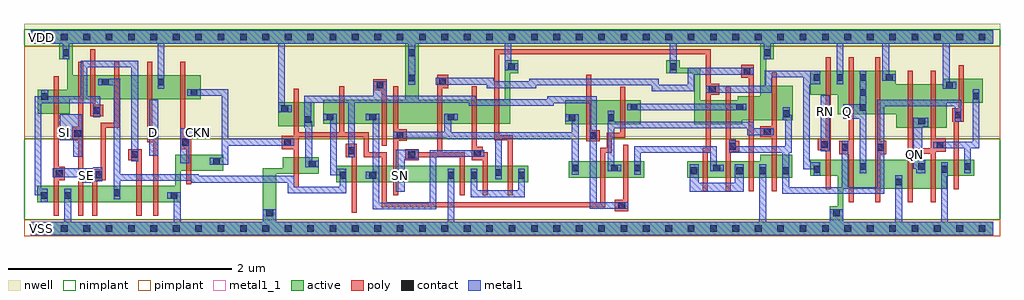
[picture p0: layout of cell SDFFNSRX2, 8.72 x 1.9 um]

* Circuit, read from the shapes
.subckt SDFFNSRX2 CKN D Q QN RN SE SI SN VDD VSS
M1 VSS SE n1 VSS nfet w=0.145u l=0.045u
M2 n2 SI VSS VSS nfet w=0.145u l=0.045u
M3 n3 SE n2 VSS nfet w=0.145u l=0.045u
M4 n4 n1 n3 VSS nfet w=0.145u l=0.045u
M5 VSS D n4 VSS nfet w=0.145u l=0.045u
M6 n5 CKN VSS VSS nfet w=0.145u l=0.045u
M7 n6 n5 VSS VSS nfet w=0.145u l=0.045u
M8 n7 n6 n3 VSS nfet w=0.145u l=0.045u
M9 n8 n5 n7 VSS nfet w=0.145u l=0.045u
M10 VSS n9 n8 VSS nfet w=0.145u l=0.045u
M11 n10 SN VSS VSS nfet w=0.145u l=0.045u
M12 n9 n7 n10 VSS nfet w=0.145u l=0.045u
M13 n10 n11 n9 VSS nfet w=0.145u l=0.045u
M14 n12 n5 n9 VSS nfet w=0.145u l=0.045u
M15 n13 n6 n12 VSS nfet w=0.145u l=0.045u
M16 n13 n11 n14 VSS nfet w=0.145u l=0.045u
M17 n14 n15 n13 VSS nfet w=0.145u l=0.045u
M18 VSS SN n14 VSS nfet w=0.145u l=0.045u
M19 n15 n12 VSS VSS nfet w=0.205u l=0.045u
M20 VSS RN n11 VSS nfet w=0.145u l=0.045u
M21 Q n15 VSS VSS nfet w=0.26u l=0.045u m=2
M22 QN n16 VSS VSS nfet w=0.26u l=0.045u m=2
M23 n16 n15 VSS VSS nfet w=0.145u l=0.045u
M24 VDD SE n1 VDD pfet w=0.215u l=0.045u
M25 n17 SI VDD VDD pfet w=0.215u l=0.045u
M26 n3 n1 n17 VDD pfet w=0.215u l=0.045u
M27 n18 SE n3 VDD pfet w=0.215u l=0.045u
M28 VDD D n18 VDD pfet w=0.215u l=0.045u
M29 n5 CKN VDD VDD pfet w=0.215u l=0.045u
M30 n6 n5 VDD VDD pfet w=0.215u l=0.045u
M31 n7 n5 n3 VDD pfet w=0.215u l=0.045u
M32 n19 n6 n7 VDD pfet w=0.215u l=0.045u
M33 VDD n9 n19 VDD pfet w=0.215u l=0.045u
M34 n9 SN VDD VDD pfet w=0.215u l=0.045u
M35 n20 n7 n9 VDD pfet w=0.215u l=0.045u
M36 VDD n11 n20 VDD pfet w=0.215u l=0.045u
M37 n12 n6 n9 VDD pfet w=0.215u l=0.045u
M38 n21 n5 n12 VDD pfet w=0.215u l=0.045u
M39 n22 n11 VDD VDD pfet w=0.215u l=0.045u
M40 n21 n15 n22 VDD pfet w=0.215u l=0.045u
M41 VDD SN n21 VDD pfet w=0.215u l=0.045u
M42 n15 n12 VDD VDD pfet w=0.31u l=0.045u
M43 VDD RN n11 VDD pfet w=0.215u l=0.045u
M44 Q n15 VDD VDD pfet w=0.39u l=0.045u m=2
M45 QN n16 VDD VDD pfet w=0.39u l=0.045u m=2
M46 n16 n15 VDD VDD pfet w=0.215u l=0.045u
.ends

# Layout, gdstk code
import gdstk
lib = gdstk.Library(unit=1e-6, precision=5e-10)
def R(c, l, rs):  # rectangles x0, y0, x1, y1
    for r in rs: c.add(gdstk.rectangle(r[:2], r[2:], *l))
def A(c, l, x, y, w, h, nx, ny, dx, dy):  # array of equal rectangles
    R(c, l, [(x+i*dx, y+j*dy, x+i*dx+w, y+j*dy+h) for i in range(nx) for j in range(ny)])
def P(c, l, *ps):  # polygons
    for p in ps: c.add(gdstk.Polygon(p, *l))
active = (1, 0)
nwell = (2, 0)
poly = (3, 0)
nimplant = (4, 0)
pimplant = (5, 0)
contact = (6, 0)
metal1 = (7, 0)
metal1_1 = (7, 1)

sdffnsrx2 = lib.new_cell('SDFFNSRX2')
R(sdffnsrx2, active, [(2.73,0.415,4.445,0.56), (4.805,0.455,5.48,0.6), (2.21,0.915,2.535,1.13), (4.775,0.93,5.45,1.145)])
P(sdffnsrx2, active, [(0,1.77),(8.6,1.77),(8.6,1.65),(6.64,1.65),(6.64,1.51),(6.57,1.51),(6.57,1.275),(6.81,1.275),(6.81,0.965),(6.355,0.965),(6.355,0.93),(5.93,0.93),(5.93,1.385),(5.68,1.385),(5.68,1.505),(5.8,1.505),(5.8,1.435),(5.98,1.435),(5.98,1.145),(6.315,1.145),(6.315,1.18),(6.52,1.18),(6.52,1.65),(3.465,1.65),(3.465,1.15),(4.235,1.15),(4.235,1.505),(4.355,1.505),(4.355,1.385),(4.285,1.385),(4.285,0.935),(2.615,0.935),(2.615,1.15),(3.345,1.15),(3.345,1.65),(0.375,1.65),(0.375,1.37),(1.52,1.37),(1.52,1.155),(0.35,1.155),(0.35,1.025),(0.065,1.025),(0.065,1.24),(0.325,1.24),(0.325,1.51),(0.255,1.51),(0.255,1.65),(0,1.65)],
  [(6.965,1.41),(7.73,1.41),(7.73,1.29),(8.15,1.29),(8.15,1.34),(8.505,1.34),(8.505,1.125),(8.185,1.125),(8.185,0.9),(7.735,0.9),(7.735,1.02),(7.21,1.02),(7.21,1.195),(6.965,1.195)],
  [(2.25,0.635),(2.575,0.635),(2.575,0.49),(2.195,0.49),(2.195,0.06),(7.14,0.06),(7.14,0.2),(7.21,0.2),(7.21,0.47),(6.965,0.47),(6.965,0.615),(8.43,0.615),(8.43,0.47),(8.185,0.47),(8.185,0.355),(7.26,0.355),(7.26,0.06),(8.6,0.06),(8.6,-0.06),(0,-0.06),(0,0.06),(2.075,0.06),(2.075,0.54),(2.25,0.54)],
  [(1.29,0.66),(1.72,0.66),(1.72,0.515),(1.34,0.515),(1.34,0.235),(0.06,0.235),(0.06,0.38),(1.29,0.38)],
  [(6.52,0.66),(6.805,0.66),(6.805,0.455),(5.865,0.455),(5.865,0.6),(6.52,0.6)])
R(sdffnsrx2, nwell, [(-0.06,0.82,8.66,1.83)])
P(sdffnsrx2, poly, [(0.205,1.36),(0.25,1.36),(0.25,0.55),(0.305,0.55),(0.305,0.43),(0.25,0.43),(0.25,0.115),(0.205,0.115)],
  [(3.06,1.335),(3.18,1.335),(3.18,0.74),(3.135,0.74),(3.135,1.235),(3.06,1.235)],
  [(0.425,1.49),(0.47,1.49),(0.47,0.115),(0.425,0.115),(0.425,0.79),(0.37,0.79),(0.37,0.91),(0.425,0.91)],
  [(0.53,1.6),(0.575,1.6),(0.575,1.105),(0.65,1.105),(0.65,1.005),(0.53,1.005)],
  [(0.745,1.49),(0.79,1.49),(0.79,0.9),(0.67,0.9),(0.67,0.43),(0.595,0.43),(0.595,0.115),(0.55,0.115),(0.55,0.53),(0.625,0.53),(0.625,0.945),(0.745,0.945)],
  [(1.04,1.49),(1.085,1.49),(1.085,0.89),(1.14,0.89),(1.14,0.115),(1.095,0.115),(1.095,0.77),(1.04,0.77)],
  [(1.335,1.49),(1.38,1.49),(1.38,0.83),(1.435,0.83),(1.435,0.395),(1.39,0.395),(1.39,0.71),(1.335,0.71)],
  [(2.35,1.25),(2.395,1.25),(2.395,0.86),(2.755,0.86),(2.755,1.27),(2.8,1.27),(2.8,0.86),(3.02,0.86),(3.02,0.68),(3.18,0.68),(3.18,0.235),(5.09,0.235),(5.09,0.72),(5.145,0.72),(5.145,0.855),(5.265,0.855),(5.265,1.265),(5.31,1.265),(5.31,0.81),(5.19,0.81),(5.19,0.675),(5.135,0.675),(5.135,0.19),(3.135,0.19),(3.135,0.635),(2.975,0.635),(2.975,0.815),(2.395,0.815),(2.395,0.37),(2.35,0.37),(2.35,0.71),(2.245,0.71),(2.245,0.83),(2.35,0.83)],
  [(3.24,1.27),(3.285,1.27),(3.285,0.885),(3.36,0.885),(3.36,0.785),(3.285,0.785),(3.285,0.295),(3.24,0.295)],
  [(3.63,1.375),(3.73,1.375),(3.73,1.255),(3.675,1.255),(3.675,0.68),(3.88,0.68),(3.88,0.295),(3.835,0.295),(3.835,0.635),(3.465,0.635),(3.465,0.61),(3.345,0.61),(3.345,0.71),(3.465,0.71),(3.465,0.68),(3.63,0.68)],
  [(4.14,1.6),(6.075,1.6),(6.075,1.295),(6.15,1.295),(6.15,1.195),(6.075,1.195),(6.075,0.675),(6.05,0.675),(6.05,0.335),(6.005,0.335),(6.005,0.72),(6.03,0.72),(6.03,1.555),(4.185,1.555),(4.185,0.835),(4.305,0.835),(4.305,0.295),(4.26,0.295),(4.26,0.79),(4.14,0.79)],
  [(3.94,1.27),(3.985,1.27),(3.985,0.73),(4.04,0.73),(4.04,0.68),(4.085,0.68),(4.085,0.295),(4.04,0.295),(4.04,0.61),(3.94,0.61)],
  [(4.965,1.375),(5.01,1.375),(5.01,0.88),(5.085,0.88),(5.085,0.78),(4.965,0.78)],
  [(7.105,1.53),(7.15,1.53),(7.15,0.35),(7.105,0.35),(7.105,0.7),(7.03,0.7),(7.03,0.8),(7.105,0.8)],
  [(7.31,1.53),(7.355,1.53),(7.355,0.235),(7.31,0.235),(7.31,0.665),(7.225,0.665),(7.225,0.785),(7.31,0.785)],
  [(7.545,1.53),(7.59,1.53),(7.59,0.785),(7.645,0.785),(7.645,0.665),(7.59,0.665),(7.59,0.235),(7.545,0.235)],
  [(6.35,1.465),(6.46,1.465),(6.46,0.335),(6.415,0.335),(6.415,1.345),(6.35,1.345)],
  [(6.21,1.265),(6.255,1.265),(6.255,0.785),(6.33,0.785),(6.33,0.685),(6.255,0.685),(6.255,0.335),(6.21,0.335)],
  [(6.62,1.395),(6.665,1.395),(6.665,0.335),(6.62,0.335),(6.62,0.815),(6.52,0.815),(6.52,0.915),(6.62,0.915)],
  [(7.835,1.41),(7.88,1.41),(7.88,0.715),(8.04,0.715),(8.04,1.41),(8.085,1.41),(8.085,0.805),(8.175,0.805),(8.175,0.685),(8.085,0.685),(8.085,0.235),(8.04,0.235),(8.04,0.67),(7.88,0.67),(7.88,0.235),(7.835,0.235)],
  [(8.29,1.46),(8.335,1.46),(8.335,0.955),(8.29,0.955),(8.29,0.35),(8.245,0.35),(8.245,0.955),(8.235,0.955),(8.235,1.075),(8.29,1.075)],
  [(2.815,0.755),(2.915,0.755),(2.915,0.14),(2.87,0.14),(2.87,0.635),(2.815,0.635)],
  [(0.87,0.71),(0.99,0.71),(0.99,0.115),(0.945,0.115),(0.945,0.61),(0.87,0.61)],
  [(5.295,0.75),(5.34,0.75),(5.34,0.155),(5.22,0.155),(5.22,0.255),(5.295,0.255)])
R(sdffnsrx2, nimplant, [(-0.06,0.08,8.66,0.8), (-0.06,1.63,8.66,1.78)])
R(sdffnsrx2, pimplant, [(-0.06,-0.07,8.66,0.08), (-0.06,0.8,8.66,1.63)])
A(sdffnsrx2, contact, 0.07, -0.03, 0.06, 0.06, 43, 2, 0.2, 1.71)
A(sdffnsrx2, contact, 6.305, 0.485, 0.06, 0.06, 3, 1, 0.205, 0)
A(sdffnsrx2, contact, 6.995, 1.32, 0.06, 0.06, 3, 1, 0.205, 0)
R(sdffnsrx2, contact, [(2.105,0.11,2.165,0.17), (7.17,0.11,7.23,0.17), (5.25,0.175,5.31,0.235), (0.09,0.265,0.15,0.325), (0.3,0.265,0.36,0.325), (1.25,0.265,1.31,0.325), (0.74,0.29,0.8,0.35), (7.725,0.385,7.785,0.445), (2.76,0.445,2.82,0.505), (3.025,0.445,3.085,0.505), (3.725,0.445,3.785,0.505), (3.93,0.445,3.99,0.505), (4.355,0.445,4.415,0.505), (0.58,0.45,0.64,0.51), (0.225,0.46,0.285,0.52), (4.15,0.47,4.21,0.53), (5.895,0.485,5.955,0.545), (6.995,0.5,7.055,0.56), (8.135,0.5,8.195,0.56), (4.835,0.51,4.895,0.57), (5.185,0.51,5.245,0.57), (5.39,0.51,5.45,0.57), (6.1,0.51,6.16,0.57), (7.405,0.525,7.465,0.585), (7.93,0.525,7.99,0.585), (8.34,0.525,8.4,0.585), (2.485,0.545,2.545,0.605), (1.63,0.57,1.69,0.63), (0.9,0.63,0.96,0.69), (3.375,0.63,3.435,0.69), (3.96,0.64,4.02,0.7), (2.835,0.665,2.895,0.725), (7.245,0.695,7.305,0.755), (7.565,0.695,7.625,0.755), (6.24,0.705,6.3,0.765), (8.095,0.715,8.155,0.775), (7.06,0.72,7.12,0.78), (1.355,0.74,1.415,0.8), (2.265,0.74,2.325,0.8), (1.06,0.8,1.12,0.86), (4.995,0.8,5.055,0.86), (3.27,0.805,3.33,0.865), (0.39,0.82,0.45,0.88), (6.55,0.835,6.61,0.895), (7.93,0.93,7.99,0.99), (2.445,0.945,2.505,1.005), (4.805,0.96,4.865,1.02), (5.155,0.96,5.215,1.02), (2.645,0.965,2.705,1.025), (3.025,0.965,3.085,1.025), (3.725,0.965,3.785,1.025), (8.255,0.985,8.315,1.045), (6.72,0.995,6.78,1.055), (0.56,1.025,0.62,1.085), (2.24,1.04,2.3,1.1), (7.405,1.05,7.465,1.11), (5.36,1.055,5.42,1.115), (6.305,1.055,6.365,1.115), (0.095,1.15,0.155,1.21), (8.415,1.155,8.475,1.215), (1.43,1.185,1.49,1.245), (7.405,1.185,7.465,1.245), (6.06,1.215,6.12,1.275), (8.18,1.25,8.24,1.31), (3.09,1.255,3.15,1.315), (0.635,1.28,0.695,1.34), (1.135,1.28,1.195,1.34), (3.65,1.285,3.71,1.345), (3.375,1.315,3.435,1.375), (7.64,1.32,7.7,1.38), (6.37,1.375,6.43,1.435), (4.265,1.415,4.325,1.475), (5.71,1.415,5.77,1.475), (0.285,1.54,0.345,1.6), (3.375,1.54,3.435,1.6), (6.55,1.54,6.61,1.6)])
R(sdffnsrx2, metal1, [(1.06,0.65,1.14,1.15), (7.06,0.69,7.14,1.19), (5.33,1.055,6.395,1.115)])
P(sdffnsrx2, metal1, [(0,1.77),(8.6,1.77),(8.6,1.65),(8.21,1.65),(8.21,1.31),(8.27,1.31),(8.27,1.25),(8.15,1.25),(8.15,1.65),(7.67,1.65),(7.67,1.38),(7.73,1.38),(7.73,1.32),(7.61,1.32),(7.61,1.65),(7.26,1.65),(7.26,1.29),(7.2,1.29),(7.2,1.65),(6.61,1.65),(6.61,1.51),(6.55,1.51),(6.55,1.65),(5.77,1.65),(5.77,1.385),(5.71,1.385),(5.71,1.65),(4.295,1.65),(4.295,1.475),(4.355,1.475),(4.355,1.415),(4.235,1.415),(4.235,1.65),(3.435,1.65),(3.435,1.285),(3.375,1.285),(3.375,1.65),(2.27,1.65),(2.27,1.1),(2.33,1.1),(2.33,1.04),(2.21,1.04),(2.21,1.65),(1.195,1.65),(1.195,1.25),(1.135,1.25),(1.135,1.65),(0.345,1.65),(0.345,1.51),(0.285,1.51),(0.285,1.65),(0,1.65)],
  [(0.445,1.5),(0.96,1.5),(0.96,0.6),(0.9,0.6),(0.9,1.44),(0.505,1.44),(0.505,1.18),(0.62,1.18),(0.62,0.995),(0.56,0.995),(0.56,1.12),(0.095,1.12),(0.095,0.355),(0.15,0.355),(0.15,0.235),(0.09,0.235),(0.09,0.295),(0.035,0.295),(0.035,1.18),(0.095,1.18),(0.095,1.24),(0.155,1.24),(0.155,1.18),(0.445,1.18)],
  [(0.605,1.34),(0.8,1.34),(0.8,0.485),(1.5,0.485),(1.5,0.47),(2.355,0.47),(2.355,0.375),(2.76,0.375),(2.76,0.475),(2.675,0.475),(2.675,0.965),(2.615,0.965),(2.615,1.025),(2.735,1.025),(2.735,0.535),(2.82,0.535),(2.82,0.315),(2.295,0.315),(2.295,0.41),(1.44,0.41),(1.44,0.425),(0.8,0.425),(0.8,0.26),(0.74,0.26),(0.74,1.28),(0.605,1.28)],
  [(0.26,1.02),(0.46,1.02),(0.46,0.64),(0.38,0.64),(0.38,0.79),(0.26,0.79)],
  [(0.56,0.545),(0.64,0.545),(0.64,0.42),(0.54,0.42),(0.54,0.41),(0.46,0.41),(0.46,0.46),(0.195,0.46),(0.195,0.54),(0.56,0.54)],
  [(0.3,0.355),(0.36,0.355),(0.36,0.06),(1.28,0.06),(1.28,0.265),(1.22,0.265),(1.22,0.325),(1.34,0.325),(1.34,0.06),(2.075,0.06),(2.075,0.17),(2.195,0.17),(2.195,0.06),(3.725,0.06),(3.725,0.535),(3.785,0.535),(3.785,0.06),(6.51,0.06),(6.51,0.575),(6.57,0.575),(6.57,0.06),(7.14,0.06),(7.14,0.17),(7.26,0.17),(7.26,0.06),(7.725,0.06),(7.725,0.475),(7.785,0.475),(7.785,0.06),(8.135,0.06),(8.135,0.59),(8.195,0.59),(8.195,0.06),(8.6,0.06),(8.6,-0.06),(0,-0.06),(0,0.06),(0.3,0.06)],
  [(3.06,1.315),(3.18,1.315),(3.18,1.185),(3.975,1.185),(3.975,1.155),(4.615,1.155),(4.615,1.18),(5.055,1.18),(5.055,0.235),(5.34,0.235),(5.34,0.175),(4.995,0.175),(4.995,1.12),(4.675,1.12),(4.675,1.095),(3.915,1.095),(3.915,1.125),(2.895,1.125),(2.895,0.635),(2.835,0.635),(2.835,1.125),(2.505,1.125),(2.505,0.96),(2.515,0.96),(2.515,0.605),(2.575,0.605),(2.575,0.545),(2.455,0.545),(2.455,0.9),(2.445,0.9),(2.445,1.185),(3.06,1.185)],
  [(1.4,1.245),(1.765,1.245),(1.765,0.8),(2.355,0.8),(2.355,0.74),(1.765,0.74),(1.765,0.57),(1.6,0.57),(1.6,0.63),(1.705,0.63),(1.705,1.185),(1.4,1.185)],
  [(1.335,0.895),(1.605,0.895),(1.605,0.815),(1.415,0.815),(1.415,0.585),(1.335,0.585)],
  [(2.995,1.025),(3.115,1.025),(3.115,0.23),(3.565,0.23),(3.565,0.7),(4.05,0.7),(4.05,0.64),(3.625,0.64),(3.625,0.17),(3.055,0.17),(3.055,0.445),(2.995,0.445),(2.995,0.505),(3.055,0.505),(3.055,0.965),(2.995,0.965)],
  [(5.87,1.435),(6.46,1.435),(6.46,1.375),(5.93,1.375),(5.93,1.225),(5.55,1.225),(5.55,1.28),(4.515,1.28),(4.515,1.255),(4.075,1.255),(4.075,1.285),(3.62,1.285),(3.62,1.345),(4.135,1.345),(4.135,1.315),(4.455,1.315),(4.455,1.34),(5.61,1.34),(5.61,1.285),(5.87,1.285)],
  [(3.695,1.025),(3.815,1.025),(3.815,0.965),(3.755,0.965),(3.755,0.86),(4.835,0.86),(4.835,0.96),(4.775,0.96),(4.775,1.02),(4.895,1.02),(4.895,0.48),(4.835,0.48),(4.835,0.8),(4.21,0.8),(4.21,0.44),(4.15,0.44),(4.15,0.8),(3.72,0.8),(3.72,0.805),(3.24,0.805),(3.24,0.865),(3.695,0.865)],
  [(6.56,1.41),(7.055,1.41),(7.055,1.29),(6.96,1.29),(6.96,0.59),(7.055,0.59),(7.055,0.47),(6.995,0.47),(6.995,0.53),(6.9,0.53),(6.9,1.35),(6.62,1.35),(6.62,1.215),(6.03,1.215),(6.03,1.275),(6.56,1.275)],
  [(3.26,0.705),(3.465,0.705),(3.465,0.625),(3.34,0.625),(3.34,0.33),(3.26,0.33)],
  [(3.93,0.535),(3.99,0.535),(3.99,0.34),(4.355,0.34),(4.355,0.535),(4.415,0.535),(4.415,0.28),(3.93,0.28)],
  [(5.155,1.05),(5.215,1.05),(5.215,0.955),(6.46,0.955),(6.46,0.895),(6.64,0.895),(6.64,0.835),(6.4,0.835),(6.4,0.895),(5.215,0.895),(5.215,0.57),(5.275,0.57),(5.275,0.51),(5.155,0.51)],
  [(7.405,1.41),(7.465,1.41),(7.465,0.495),(7.405,0.495),(7.405,0.98),(7.26,0.98),(7.26,1.11),(7.405,1.11)],
  [(7.565,1.15),(8.315,1.15),(8.315,0.955),(8.255,0.955),(8.255,1.09),(7.625,1.09),(7.625,0.31),(6.715,0.31),(6.715,0.675),(6.24,0.675),(6.24,0.795),(6.3,0.795),(6.3,0.735),(6.74,0.735),(6.74,0.965),(6.72,0.965),(6.72,1.085),(6.78,1.085),(6.78,1.015),(6.8,1.015),(6.8,0.675),(6.775,0.675),(6.775,0.37),(7.245,0.37),(7.245,0.785),(7.305,0.785),(7.305,0.37),(7.565,0.37)],
  [(5.39,0.735),(6.13,0.735),(6.13,0.57),(6.19,0.57),(6.19,0.51),(6.07,0.51),(6.07,0.675),(5.45,0.675),(5.45,0.48),(5.39,0.48)],
  [(5.89,0.575),(5.97,0.575),(5.97,0.41),(6.29,0.41),(6.29,0.575),(6.37,0.575),(6.37,0.33),(5.89,0.33)],
  [(8.415,1.245),(8.475,1.245),(8.475,0.715),(8.4,0.715),(8.4,0.495),(8.34,0.495),(8.34,0.715),(8.065,0.715),(8.065,0.775),(8.415,0.775)],
  [(7.885,0.99),(8.02,0.99),(8.02,0.91),(7.965,0.91),(7.965,0.615),(7.99,0.615),(7.99,0.495),(7.91,0.495),(7.91,0.535),(7.885,0.535),(7.885,0.625),(7.835,0.625),(7.835,0.705),(7.885,0.705)])
R(sdffnsrx2, metal1_1, [(0.06,-0.04,0.14,0.04), (0.46,0.435,0.54,0.515), (3.26,0.435,3.34,0.515), (7.86,0.625,7.94,0.705), (0.26,0.815,0.34,0.895), (1.06,0.815,1.14,0.895), (1.46,0.815,1.54,0.895), (7.06,1.005,7.14,1.085), (7.26,1.005,7.34,1.085), (0.06,1.67,0.14,1.75)])
sdffnsrx2.add(gdstk.Label('QN', (7.9,0.665), layer=7, texttype=1))
sdffnsrx2.add(gdstk.Label('Q', (7.3,1.045), layer=7, texttype=1))
sdffnsrx2.add(gdstk.Label('SE', (0.5,0.475), layer=7, texttype=1))
sdffnsrx2.add(gdstk.Label('SN', (3.3,0.475), layer=7, texttype=1))
sdffnsrx2.add(gdstk.Label('D', (1.1,0.855), layer=7, texttype=1))
sdffnsrx2.add(gdstk.Label('SI', (0.3,0.855), layer=7, texttype=1))
sdffnsrx2.add(gdstk.Label('RN', (7.1,1.045), layer=7, texttype=1))
sdffnsrx2.add(gdstk.Label('CKN', (1.5,0.855), layer=7, texttype=1))
sdffnsrx2.add(gdstk.Label('VDD', (0.1,1.71), layer=7, texttype=1))
sdffnsrx2.add(gdstk.Label('VSS', (0.1,0), layer=7, texttype=1))
sdffnsrx2.add(gdstk.Label('SDFFNSRX2', (0,0), layer=63, texttype=0))

lib.write_gds('SDFFNSRX2.gds')
